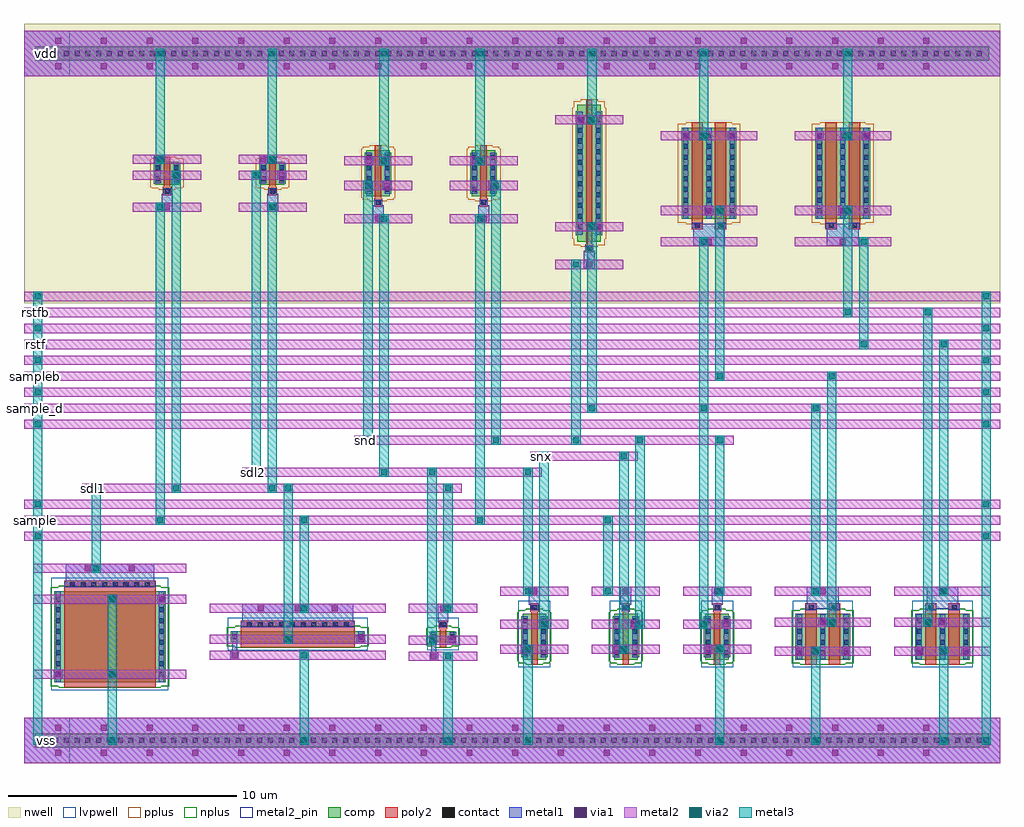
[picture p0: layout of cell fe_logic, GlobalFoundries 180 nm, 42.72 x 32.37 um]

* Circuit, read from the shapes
.subckt fe_logic rstf rstfb sample sample_d sampleb sdl1 sdl2 snd snx vdd vss
XM1 vss sdl1 vss vss nfet_03v3 w=4u l=4u
XM2 sdl1 sample vss vss nfet_03v3 w=0.5u l=5u
XM3 sdl2 sdl1 vss vss nfet_03v3 w=0.5u l=0.28u
XM4 snx sdl2 vss vss nfet_03v3 w=2u l=0.28u
XM5 snd sample snx vss nfet_03v3 w=2u l=0.28u
XM6 sample_d snd vss vss nfet_03v3 w=2u l=0.28u
XM7 sampleb sample_d vss vss nfet_03v3 w=2u l=0.5u m=2
XM8 rstfb rstf vss vss nfet_03v3 w=2u l=0.5u m=2
XM9 sdl1 sample vdd vdd pfet_03v3 w=1u l=0.28u
XM10 sdl2 sdl1 vdd vdd pfet_03v3 w=1u l=0.28u
XM11 snd sdl2 vdd vdd pfet_03v3 w=2u l=0.28u
XM12 snd sample vdd vdd pfet_03v3 w=2u l=0.28u
XM13 sample_d snd vdd vdd pfet_03v3 w=6u l=0.28u
XM14 sampleb sample_d vdd vdd pfet_03v3 w=4u l=0.5u m=2
XM15 rstfb rstf vdd vdd pfet_03v3 w=4u l=0.5u m=2
.ends

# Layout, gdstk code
import gdstk
lib = gdstk.Library(unit=1e-6, precision=1e-09)
def R(c, l, rs):  # rectangles x0, y0, x1, y1
    for r in rs: c.add(gdstk.rectangle(r[:2], r[2:], *l))
def A(c, l, x, y, w, h, nx, ny, dx, dy):  # array of equal rectangles
    R(c, l, [(x+i*dx, y+j*dy, x+i*dx+w, y+j*dy+h) for i in range(nx) for j in range(ny)])
nwell = (21, 0)
comp = (22, 0)
poly2 = (30, 0)
pplus = (31, 0)
nplus = (32, 0)
contact = (33, 0)
metal1 = (34, 0)
via1 = (35, 0)
metal2 = (36, 0)
metal2_pin = (36, 10)
via2 = (38, 0)
metal3 = (42, 0)
lvpwell = (204, 0)

nfet_03v3_hmd882 = lib.new_cell('nfet_03v3_HMD882')
R(nfet_03v3_hmd882, comp, [(-2.94,-0.37,2.94,0.13)])
R(nfet_03v3_hmd882, poly2, [(-2.5,-0.59,2.5,0.59)])
R(nfet_03v3_hmd882, nplus, [(-2.73,-0.6,2.73,-0.53), (-3.1,-0.53,3.1,0.29), (-2.73,0.29,2.73,0.36)])
A(nfet_03v3_hmd882, contact, -2.225, 0.3, 0.22, 0.22, 10, 1, 0.47, 0)
R(nfet_03v3_hmd882, contact, [(-2.87,-0.23,-2.65,-0.01), (2.65,-0.23,2.87,-0.01)])
R(nfet_03v3_hmd882, metal1, [(-2.875,-0.36,-2.645,0.12), (2.645,-0.36,2.875,0.12), (-2.49,0.295,2.49,0.525)])
R(nfet_03v3_hmd882, lvpwell, [(-3.06,-0.71,3.06,0.71)])

nfet_03v3_ekzegb = lib.new_cell('nfet_03v3_EKZEGB')
R(nfet_03v3_ekzegb, comp, [(-2.44,-2.12,2.44,1.88)])
R(nfet_03v3_ekzegb, poly2, [(-2,-2.34,2,2.34)])
R(nfet_03v3_ekzegb, nplus, [(-2.23,-2.35,2.23,-2.28), (-2.6,-2.28,2.6,2.04), (-2.23,2.04,2.23,2.11)])
A(nfet_03v3_ekzegb, contact, -2.37, -1.875, 0.22, 0.22, 1, 8, 0, 0.47)
A(nfet_03v3_ekzegb, contact, 2.15, -1.875, 0.22, 0.22, 1, 8, 0, 0.47)
A(nfet_03v3_ekzegb, contact, -1.755, 2.05, 0.22, 0.22, 8, 1, 0.47, 0)
R(nfet_03v3_ekzegb, metal1, [(-2.375,-2.11,-2.145,1.87), (2.145,-2.11,2.375,1.87), (-1.99,2.045,1.99,2.275)])
R(nfet_03v3_ekzegb, lvpwell, [(-2.56,-2.46,2.56,2.46)])

nfet_03v3_ggv944 = lib.new_cell('nfet_03v3_GGV944')
R(nfet_03v3_ggv944, comp, [(-0.515,-0.37,0.515,-0.335), (-0.58,-0.335,0.58,0.095), (-0.515,0.095,0.515,0.13)])
R(nfet_03v3_ggv944, poly2, [(-0.14,-0.59,0.14,0.23), (-0.18,0.23,0.18,0.59)])
R(nfet_03v3_ggv944, nplus, [(-0.37,-0.6,0.37,-0.53), (-0.675,-0.53,0.675,-0.495), (-0.74,-0.495,0.74,0.255), (-0.675,0.255,0.675,0.29), (-0.37,0.29,0.37,0.36)])
R(nfet_03v3_ggv944, contact, [(-0.51,-0.23,-0.29,-0.01), (0.29,-0.23,0.51,-0.01), (-0.11,0.3,0.11,0.52)])
R(nfet_03v3_ggv944, metal1, [(-0.515,-0.325,-0.285,0.085), (0.285,-0.325,0.515,0.085), (-0.17,0.295,0.17,0.525)])
R(nfet_03v3_ggv944, lvpwell, [(-0.7,-0.71,0.7,0.71)])

nfet_03v3_psnr9f = lib.new_cell('nfet_03v3_PSNR9F')
R(nfet_03v3_psnr9f, comp, [(-0.515,-1.12,0.515,-1.025), (-0.58,-1.025,0.58,0.785), (-0.515,0.785,0.515,0.88)])
R(nfet_03v3_psnr9f, poly2, [(-0.14,-1.34,0.14,0.98), (-0.18,0.98,0.18,1.34)])
R(nfet_03v3_psnr9f, nplus, [(-0.37,-1.35,0.37,-1.28), (-0.675,-1.28,0.675,-1.185), (-0.74,-1.185,0.74,0.945), (-0.675,0.945,0.675,1.04), (-0.37,1.04,0.37,1.11)])
A(nfet_03v3_psnr9f, contact, -0.51, -0.935, 0.22, 0.22, 1, 4, 0, 0.47)
A(nfet_03v3_psnr9f, contact, 0.29, -0.935, 0.22, 0.22, 1, 4, 0, 0.47)
R(nfet_03v3_psnr9f, contact, [(-0.11,1.05,0.11,1.27)])
R(nfet_03v3_psnr9f, metal1, [(-0.515,-1.015,-0.285,0.775), (0.285,-1.015,0.515,0.775), (-0.17,1.045,0.17,1.275)])
R(nfet_03v3_psnr9f, lvpwell, [(-0.7,-1.46,0.7,1.46)])

nfet_03v3_kp96zv = lib.new_cell('nfet_03v3_KP96ZV')
R(nfet_03v3_kp96zv, comp, [(-1.2,-1.12,1.2,0.88)])
R(nfet_03v3_kp96zv, poly2, [(-0.76,-1.34,-0.26,1.34), (0.26,-1.34,0.76,1.34)])
R(nfet_03v3_kp96zv, nplus, [(-0.99,-1.35,0.99,-1.28), (-1.36,-1.28,1.36,1.04), (-0.99,1.04,0.99,1.11)])
A(nfet_03v3_kp96zv, contact, -1.13, -0.935, 0.22, 0.22, 3, 4, 1.02, 0.47)
R(nfet_03v3_kp96zv, contact, [(-0.62,1.05,-0.4,1.27), (0.4,1.05,0.62,1.27)])
A(nfet_03v3_kp96zv, metal1, -1.135, -1.11, 0.23, 1.98, 3, 1, 1.02, 0)
R(nfet_03v3_kp96zv, metal1, [(-0.75,1.045,-0.27,1.275), (0.27,1.045,0.75,1.275)])
R(nfet_03v3_kp96zv, lvpwell, [(-1.32,-1.46,1.32,1.46)])

pfet_03v3_lla5yu = lib.new_cell('pfet_03v3_LLA5YU')
R(pfet_03v3_lla5yu, nwell, [(-1.01,-1.27,1.01,1.27)])
R(pfet_03v3_lla5yu, comp, [(-0.515,-0.62,0.515,-0.575), (-0.58,-0.575,0.58,0.335), (-0.515,0.335,0.515,0.38)])
R(pfet_03v3_lla5yu, poly2, [(-0.14,-0.84,0.14,0.48), (-0.18,0.48,0.18,0.84)])
R(pfet_03v3_lla5yu, pplus, [(-0.37,-0.85,0.37,-0.78), (-0.675,-0.78,0.675,-0.735), (-0.74,-0.735,0.74,0.495), (-0.675,0.495,0.675,0.54), (-0.37,0.54,0.37,0.61)])
R(pfet_03v3_lla5yu, contact, [(-0.51,-0.465,-0.29,-0.245), (0.29,-0.465,0.51,-0.245), (-0.51,0.005,-0.29,0.225), (0.29,0.005,0.51,0.225), (-0.11,0.55,0.11,0.77)])
R(pfet_03v3_lla5yu, metal1, [(-0.515,-0.565,-0.285,0.325), (0.285,-0.565,0.515,0.325), (-0.17,0.545,0.17,0.775)])

pfet_03v3_awp2wn = lib.new_cell('pfet_03v3_AWP2WN')
R(pfet_03v3_awp2wn, nwell, [(-1.01,-1.77,1.01,1.77)])
R(pfet_03v3_awp2wn, comp, [(-0.515,-1.12,0.515,-1.025), (-0.58,-1.025,0.58,0.785), (-0.515,0.785,0.515,0.88)])
R(pfet_03v3_awp2wn, poly2, [(-0.14,-1.34,0.14,0.98), (-0.18,0.98,0.18,1.34)])
R(pfet_03v3_awp2wn, pplus, [(-0.37,-1.35,0.37,-1.28), (-0.675,-1.28,0.675,-1.185), (-0.74,-1.185,0.74,0.945), (-0.675,0.945,0.675,1.04), (-0.37,1.04,0.37,1.11)])
A(pfet_03v3_awp2wn, contact, -0.51, -0.935, 0.22, 0.22, 1, 4, 0, 0.47)
A(pfet_03v3_awp2wn, contact, 0.29, -0.935, 0.22, 0.22, 1, 4, 0, 0.47)
R(pfet_03v3_awp2wn, contact, [(-0.11,1.05,0.11,1.27)])
R(pfet_03v3_awp2wn, metal1, [(-0.515,-1.015,-0.285,0.775), (0.285,-1.015,0.515,0.775), (-0.17,1.045,0.17,1.275)])

pfet_03v3_grpkvp = lib.new_cell('pfet_03v3_GRPKVP')
R(pfet_03v3_grpkvp, nwell, [(-1.01,-3.77,1.01,3.77)])
R(pfet_03v3_grpkvp, comp, [(-0.515,-3.12,0.515,-2.825), (-0.58,-2.825,0.58,2.585), (-0.515,2.585,0.515,2.88)])
R(pfet_03v3_grpkvp, poly2, [(-0.14,-3.34,0.14,2.98), (-0.18,2.98,0.18,3.34)])
R(pfet_03v3_grpkvp, pplus, [(-0.37,-3.35,0.37,-3.28), (-0.675,-3.28,0.675,-2.985), (-0.74,-2.985,0.74,2.745), (-0.675,2.745,0.675,3.04), (-0.37,3.04,0.37,3.11)])
A(pfet_03v3_grpkvp, contact, -0.51, -2.58, 0.22, 0.22, 1, 11, 0, 0.47)
A(pfet_03v3_grpkvp, contact, 0.29, -2.58, 0.22, 0.22, 1, 11, 0, 0.47)
R(pfet_03v3_grpkvp, contact, [(-0.11,3.05,0.11,3.27)])
R(pfet_03v3_grpkvp, metal1, [(-0.515,-2.815,-0.285,2.575), (0.285,-2.815,0.515,2.575), (-0.17,3.045,0.17,3.275)])

pfet_03v3_ze833c = lib.new_cell('pfet_03v3_ZE833C')
R(pfet_03v3_ze833c, nwell, [(-1.63,-2.77,1.63,2.77)])
R(pfet_03v3_ze833c, comp, [(-1.2,-2.12,1.2,1.88)])
R(pfet_03v3_ze833c, poly2, [(-0.76,-2.34,-0.26,2.34), (0.26,-2.34,0.76,2.34)])
R(pfet_03v3_ze833c, pplus, [(-0.99,-2.35,0.99,-2.28), (-1.36,-2.28,1.36,2.04), (-0.99,2.04,0.99,2.11)])
A(pfet_03v3_ze833c, contact, -1.13, -1.875, 0.22, 0.22, 3, 8, 1.02, 0.47)
R(pfet_03v3_ze833c, contact, [(-0.62,2.05,-0.4,2.27), (0.4,2.05,0.62,2.27)])
A(pfet_03v3_ze833c, metal1, -1.135, -2.11, 0.23, 3.98, 3, 1, 1.02, 0)
R(pfet_03v3_ze833c, metal1, [(-0.75,2.045,-0.27,2.275), (0.27,2.045,0.75,2.275)])

fe_logic = lib.new_cell('fe_logic')
R(fe_logic, nwell, [(-21.36,19.13,21.36,31.365)])
R(fe_logic, comp, [(-20.86,-0.3,20.86,0.3), (-20.86,29.765,20.86,30.365)])
R(fe_logic, pplus, [(-20.88,-0.32,20.88,0.32)])
R(fe_logic, nplus, [(-20.88,29.745,20.88,30.385)])
A(fe_logic, contact, -20.555, -0.11, 0.22, 0.22, 88, 2, 0.47, 30.065)
A(fe_logic, metal1, 0.39, 3.805, 0.38, 0.38, 3, 1, 4, 0)
A(fe_logic, metal1, 1.19, 4.885, 0.38, 0.38, 3, 1, 4, 0)
A(fe_logic, metal1, 0.865, 5.7, 0.23, 0.23, 3, 1, 4, 0)
A(fe_logic, metal1, 0.74, 5.93, 0.48, 0.79, 3, 1, 4, 0)
R(fe_logic, metal1, [(-21.36,-1,21.36,1), (-20.05,2.71,-19.67,3.09), (-3.61,3.495,-3.23,3.875), (-12.33,3.53,-11.95,3.91), (12.39,3.71,12.77,4.09), (14.43,3.71,14.81,4.09), (17.63,3.71,18.01,4.09), (19.67,3.71,20.05,4.09), (-3.535,3.875,-3.305,4.435), (-12.255,3.91,-12.025,4.4), (-2.81,4.195,-2.43,4.575), (-6.81,4.23,-6.43,4.61), (-3.135,4.97,-2.905,5.18), (13.41,4.98,13.79,5.36), (18.65,4.98,19.03,5.36), (-11.815,5.005,-6.945,5.97), (-3.26,5.18,-2.78,5.97), (12.905,5.755,14.295,6.72), (18.145,5.755,19.535,6.72), (-15.53,5.98,-15.15,6.36), (-19.535,6.755,-15.665,7.72), (3.14,20.64,3.62,21.43), (3.265,21.43,3.495,21.66), (7.925,21.64,9.315,22.605), (13.785,21.64,15.175,22.605), (3.59,22.295,3.97,22.675), (-6.1,22.64,-5.62,23.43), (-1.48,22.64,-1,23.43), (8.43,23,8.81,23.38), (14.29,23,14.67,23.38), (-15.34,23.14,-14.86,23.93), (-10.72,23.14,-10.24,23.93), (-5.975,23.43,-5.745,23.66), (-1.355,23.43,-1.125,23.66), (-15.215,23.93,-14.985,24.15), (-10.595,23.93,-10.365,24.15), (-5.65,24.095,-5.27,24.475), (-1.03,24.095,-0.65,24.475), (-14.89,24.545,-14.51,24.925), (-10.27,24.545,-9.89,24.925), (-15.615,25.165,-15.385,25.245), (-10.995,25.165,-10.765,25.245), (-6.45,25.175,-6.07,25.555), (-1.83,25.175,-1.45,25.555), (-15.69,25.245,-15.31,25.625), (-11.07,25.245,-10.69,25.625), (7.41,26.27,7.79,26.65), (9.45,26.27,9.83,26.65), (13.27,26.27,13.65,26.65), (15.31,26.27,15.69,26.65), (2.79,26.975,3.17,27.355), (-21.36,29.065,21.36,31.065)])
A(fe_logic, via1, -19.99, -0.68, 0.26, 0.26, 20, 2, 2, 1.1)
A(fe_logic, via1, 0.45, 3.865, 0.26, 0.26, 3, 1, 4, 0)
A(fe_logic, via1, 1.25, 4.945, 0.26, 0.26, 3, 1, 4, 0)
A(fe_logic, via1, -11.13, 5.65, 0.26, 0.26, 3, 1, 1.62, 0)
A(fe_logic, via1, 0.85, 6.4, 0.26, 0.26, 3, 1, 4, 0)
A(fe_logic, via1, -19.99, 29.385, 0.26, 0.26, 20, 2, 2, 1.1)
R(fe_logic, via1, [(-19.99,2.77,-19.73,3.03), (-3.55,3.555,-3.29,3.815), (-12.27,3.59,-12.01,3.85), (12.45,3.77,12.71,4.03), (14.49,3.77,14.75,4.03), (17.69,3.77,17.95,4.03), (19.73,3.77,19.99,4.03), (-2.75,4.255,-2.49,4.515), (-6.75,4.29,-6.49,4.55), (13.47,5.04,13.73,5.3), (18.71,5.04,18.97,5.3), (-3.15,5.65,-2.89,5.91), (-15.47,6.04,-15.21,6.3), (13.47,6.4,13.73,6.66), (18.71,6.4,18.97,6.66), (-18.695,7.4,-18.435,7.66), (-16.765,7.4,-16.505,7.66), (3.25,20.7,3.51,20.96), (8.49,21.7,8.75,21.96), (14.35,21.7,14.61,21.96), (3.65,22.355,3.91,22.615), (-5.99,22.7,-5.73,22.96), (-1.37,22.7,-1.11,22.96), (8.49,23.06,8.75,23.32), (14.35,23.06,14.61,23.32), (-15.23,23.2,-14.97,23.46), (-10.61,23.2,-10.35,23.46), (-5.59,24.155,-5.33,24.415), (-0.97,24.155,-0.71,24.415), (-14.83,24.605,-14.57,24.865), (-10.21,24.605,-9.95,24.865), (-6.39,25.235,-6.13,25.495), (-1.77,25.235,-1.51,25.495), (-15.63,25.305,-15.37,25.565), (-11.01,25.305,-10.75,25.565), (7.47,26.33,7.73,26.59), (9.51,26.33,9.77,26.59), (13.33,26.33,13.59,26.59), (15.37,26.33,15.63,26.59), (2.85,27.035,3.11,27.295)])
A(fe_logic, metal2, -0.51, 3.795, 2.98, 0.4, 3, 2, 4, 1.08)
A(fe_logic, metal2, -0.51, 6.33, 2.98, 0.4, 3, 1, 4, 0)
A(fe_logic, metal2, -21.36, 8.73, 42.72, 0.4, 1, 3, 0, 0.7)
A(fe_logic, metal2, -21.36, 13.63, 42.72, 0.4, 1, 9, 0, 0.7)
R(fe_logic, metal2, [(-21.36,-1,21.36,1), (-20.95,2.7,-14.25,3.1), (-4.51,3.485,-1.53,3.885), (-13.23,3.52,-5.53,3.92), (11.49,3.7,15.71,4.1), (16.73,3.7,20.95,4.1), (-4.51,4.185,-1.53,4.585), (-13.23,4.22,-5.53,4.62), (11.49,4.97,15.71,5.37), (16.73,4.97,20.95,5.37), (-13.23,5.58,-5.53,5.98), (-4.51,5.58,-1.53,5.98), (-20.95,5.97,-14.25,6.37), (11.49,6.33,15.71,6.73), (16.73,6.33,20.95,6.73), (-20.95,7.33,-14.25,7.73), (-18.8,10.83,-2.2,11.23), (-11.8,11.53,1.3,11.93), (0.8,12.23,5.5,12.63), (-6.9,12.93,9.7,13.33), (1.89,20.63,4.87,21.03), (6.51,21.63,10.73,22.03), (12.37,21.63,16.59,22.03), (1.89,22.285,4.87,22.685), (-7.35,22.63,-4.37,23.03), (-2.73,22.63,0.25,23.03), (6.51,22.99,10.73,23.39), (12.37,22.99,16.59,23.39), (-16.59,23.13,-13.61,23.53), (-11.97,23.13,-8.99,23.53), (-7.35,24.085,-4.37,24.485), (-2.73,24.085,0.25,24.485), (-16.59,24.535,-13.61,24.935), (-11.97,24.535,-8.99,24.935), (-7.35,25.165,-4.37,25.565), (-2.73,25.165,0.25,25.565), (-16.59,25.235,-13.61,25.635), (-11.97,25.235,-8.99,25.635), (6.51,26.26,10.73,26.66), (12.37,26.26,16.59,26.66), (1.89,26.965,4.87,27.365), (-21.36,29.065,21.36,31.065)])
A(fe_logic, metal2_pin, -21.36, 14.33, 1, 0.4, 1, 4, 0, 1.4)
R(fe_logic, metal2_pin, [(-21.36,-1,-19.36,1), (-21.36,9.43,-20.36,9.83), (-21.36,29.065,-19.36,31.065)])
A(fe_logic, via2, 0.57, 3.865, 0.26, 0.26, 3, 1, 4.2, 0)
A(fe_logic, via2, -20.89, 13.7, 0.26, 0.26, 1, 5, 0, 1.4)
A(fe_logic, via2, 20.63, 13.7, 0.26, 0.26, 1, 5, 0, 1.4)
A(fe_logic, via2, 3.37, 14.4, 0.26, 0.26, 3, 1, 4.9, 0)
A(fe_logic, via2, -15.53, 29.935, 0.26, 0.26, 3, 1, 4.9, 0)
A(fe_logic, via2, -1.53, 29.935, 0.26, 0.26, 3, 1, 4.9, 0)
R(fe_logic, via2, [(-20.89,-0.13,-20.63,0.13), (-17.63,-0.13,-17.37,0.13), (-9.23,-0.13,-8.97,0.13), (-2.93,-0.13,-2.67,0.13), (0.57,-0.13,0.83,0.13), (8.97,-0.13,9.23,0.13), (13.17,-0.13,13.43,0.13), (18.77,-0.13,19.03,0.13), (20.63,-0.13,20.89,0.13), (-17.63,2.77,-17.37,3.03), (-2.93,3.555,-2.67,3.815), (-9.23,3.59,-8.97,3.85), (13.17,3.77,13.43,4.03), (18.77,3.77,19.03,4.03), (-3.63,4.255,-3.37,4.515), (-9.93,4.29,-9.67,4.55), (1.27,4.945,1.53,5.205), (5.47,4.945,5.73,5.205), (8.27,4.945,8.53,5.205), (13.87,5.04,14.13,5.3), (18.07,5.04,18.33,5.3), (-9.23,5.65,-8.97,5.91), (-2.93,5.65,-2.67,5.91), (-17.63,6.04,-17.37,6.3), (0.57,6.4,0.83,6.66), (4.07,6.4,4.33,6.66), (8.97,6.4,9.23,6.66), (13.17,6.4,13.43,6.66), (18.77,6.4,19.03,6.66), (-18.33,7.4,-18.07,7.66), (-20.89,8.8,-20.63,9.06), (20.63,8.8,20.89,9.06), (-15.53,9.5,-15.27,9.76), (-9.23,9.5,-8.97,9.76), (-1.53,9.5,-1.27,9.76), (4.07,9.5,4.33,9.76), (-20.89,10.2,-20.63,10.46), (20.63,10.2,20.89,10.46), (-18.33,10.9,-18.07,11.16), (-14.83,10.9,-14.57,11.16), (-10.63,10.9,-10.37,11.16), (-9.93,10.9,-9.67,11.16), (-2.93,10.9,-2.67,11.16), (-11.33,11.6,-11.07,11.86), (-5.73,11.6,-5.47,11.86), (-3.63,11.6,-3.37,11.86), (0.57,11.6,0.83,11.86), (1.27,12.3,1.53,12.56), (4.77,12.3,5.03,12.56), (-6.43,13,-6.17,13.26), (-0.83,13,-0.57,13.26), (2.67,13,2.93,13.26), (5.47,13,5.73,13.26), (8.97,13,9.23,13.26), (8.97,15.8,9.23,16.06), (13.87,15.8,14.13,16.06), (15.27,17.2,15.53,17.46), (18.77,17.2,19.03,17.46), (14.57,18.6,14.83,18.86), (18.07,18.6,18.33,18.86), (2.67,20.7,2.93,20.96), (8.27,21.7,8.53,21.96), (15.27,21.7,15.53,21.96), (3.37,22.355,3.63,22.615), (-5.73,22.7,-5.47,22.96), (-1.53,22.7,-1.27,22.96), (8.97,23.06,9.23,23.32), (14.57,23.06,14.83,23.32), (-15.53,23.2,-15.27,23.46), (-10.63,23.2,-10.37,23.46), (-6.43,24.155,-6.17,24.415), (-0.83,24.155,-0.57,24.415), (-14.83,24.605,-14.57,24.865), (-11.33,24.605,-11.07,24.865), (-5.73,25.235,-5.47,25.495), (-1.53,25.235,-1.27,25.495), (-15.53,25.305,-15.27,25.565), (-10.63,25.305,-10.37,25.565), (8.27,26.33,8.53,26.59), (14.57,26.33,14.83,26.59), (3.37,27.035,3.63,27.295), (14.57,29.935,14.83,30.195)])
R(fe_logic, metal3, [(-20.96,-0.2,-20.56,19.63), (-17.7,-0.2,-17.3,6.37), (-9.3,-0.2,-8.9,3.92), (-3,-0.2,-2.6,3.885), (0.5,-0.2,0.9,4.195), (8.9,-0.2,9.3,4.195), (13.1,-0.2,13.5,4.1), (18.7,-0.2,19.1,4.1), (20.56,-0.2,20.96,19.63), (4.7,3.795,5.1,12.63), (-3.7,4.185,-3.3,11.93), (-10,4.22,-9.6,11.23), (1.2,4.875,1.6,12.63), (5.4,4.875,5.8,13.33), (8.2,4.875,8.6,22.03), (13.8,4.97,14.2,16.13), (18,4.97,18.4,18.93), (-9.3,5.58,-8.9,9.83), (-3,5.58,-2.6,11.23), (0.5,6.33,0.9,11.93), (4,6.33,4.4,9.83), (8.9,6.33,9.3,13.33), (13.1,6.33,13.5,14.73), (18.7,6.33,19.1,17.53), (-18.4,7.33,-18,11.23), (-15.6,9.43,-15.2,23.53), (-1.6,9.43,-1.2,23.03), (-14.9,10.83,-14.5,24.935), (-10.7,10.83,-10.3,23.53), (-11.4,11.53,-11,24.935), (-5.8,11.53,-5.4,23.03), (-6.5,12.93,-6.1,24.485), (-0.9,12.93,-0.5,24.485), (2.6,12.93,3,21.03), (3.3,14.33,3.7,22.685), (8.9,15.73,9.3,23.39), (15.2,17.13,15.6,22.03), (14.5,18.53,14.9,23.39), (-5.8,25.165,-5.4,30.265), (-1.6,25.165,-1.2,30.265), (-15.6,25.235,-15.2,30.265), (-10.7,25.235,-10.3,30.265), (8.2,26.26,8.6,30.265), (14.5,26.26,14.9,30.265), (3.3,26.965,3.7,30.265)])
fe_logic.add(gdstk.Reference(nfet_03v3_hmd882, (-9.38,4.655)))
fe_logic.add(gdstk.Reference(nfet_03v3_ekzegb, (-17.6,4.655)))
fe_logic.add(gdstk.Reference(nfet_03v3_ggv944, (-3.02,4.655)))
fe_logic.add(gdstk.Reference(nfet_03v3_psnr9f, (4.98,4.655)))
fe_logic.add(gdstk.Reference(nfet_03v3_psnr9f, (0.98,4.655)))
fe_logic.add(gdstk.Reference(nfet_03v3_kp96zv, (13.6,4.655)))
fe_logic.add(gdstk.Reference(nfet_03v3_psnr9f, (8.98,4.655)))
fe_logic.add(gdstk.Reference(nfet_03v3_kp96zv, (18.84,4.655)))
fe_logic.add(gdstk.Reference(pfet_03v3_lla5yu, (-15.1,24.705), x_reflection=True))
fe_logic.add(gdstk.Reference(pfet_03v3_awp2wn, (-5.86,24.705), x_reflection=True))
fe_logic.add(gdstk.Reference(pfet_03v3_lla5yu, (-10.48,24.705), x_reflection=True))
fe_logic.add(gdstk.Reference(pfet_03v3_grpkvp, (3.38,24.705), x_reflection=True))
fe_logic.add(gdstk.Reference(pfet_03v3_awp2wn, (-1.24,24.705), x_reflection=True))
fe_logic.add(gdstk.Reference(pfet_03v3_ze833c, (14.48,24.705), x_reflection=True))
fe_logic.add(gdstk.Reference(pfet_03v3_ze833c, (8.62,24.705), x_reflection=True))
fe_logic.add(gdstk.Label('sdl1', (-18.3,11.03), layer=36, texttype=0))
fe_logic.add(gdstk.Label('sdl2', (-11.3,11.73), layer=36, texttype=0))
fe_logic.add(gdstk.Label('snx', (1.3,12.43), layer=36, texttype=0))
fe_logic.add(gdstk.Label('snd', (-6.4,13.13), layer=36, texttype=0))
fe_logic.add(gdstk.Label('sample', (-20.86,9.63), layer=36, texttype=10))
fe_logic.add(gdstk.Label('sample_d', (-20.86,14.53), layer=36, texttype=10))
fe_logic.add(gdstk.Label('sampleb', (-20.86,15.93), layer=36, texttype=10))
fe_logic.add(gdstk.Label('rstf', (-20.86,17.33), layer=36, texttype=10))
fe_logic.add(gdstk.Label('rstfb', (-20.86,18.73), layer=36, texttype=10))
fe_logic.add(gdstk.Label('vss', (-20.36,0), layer=36, texttype=10))
fe_logic.add(gdstk.Label('vdd', (-20.36,30.065), layer=36, texttype=10))

lib.write_gds('fe_logic.gds')
